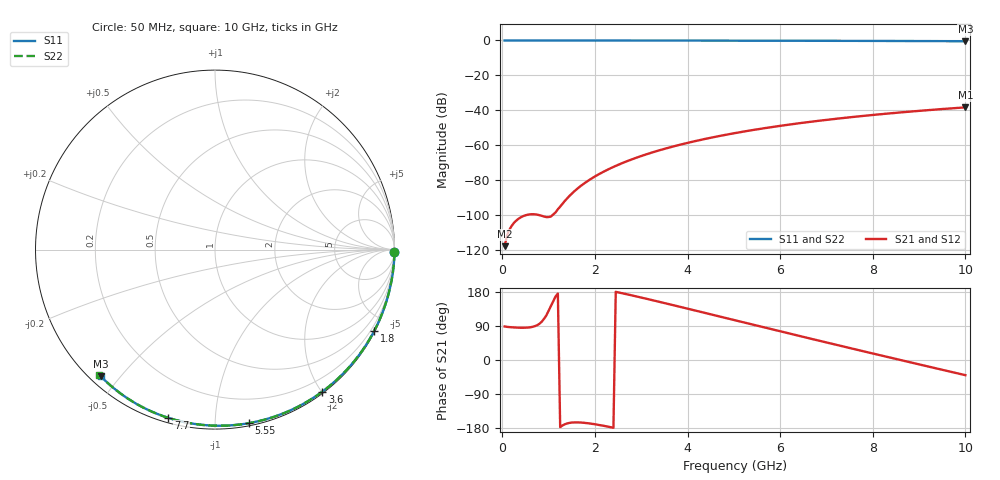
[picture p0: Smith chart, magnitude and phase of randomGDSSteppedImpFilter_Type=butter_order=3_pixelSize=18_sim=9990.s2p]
! freq	dB(S11)	phase(S11)	dB(S12)	phase(S12)
!  dB(S21)	phase(S21)	dB(S22)	phase(S22)
!S-par simulation data
#  GHz  S  DB  R 50
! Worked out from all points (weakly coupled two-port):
!   200 points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, 50 MHz to 10 GHz, reference 50 ohm
!   highest |S21| = -38.36 dB at 10 GHz (marker M1); lowest = -117.9 dB at 50 MHz (marker M2)
!   lowest |S11| = -0.4 dB at 10 GHz (marker M3), VSWR 39.19, Z = 1.53 - j22.3 ohm
!   |S11| at or under -10 dB: nowhere
!   |S22| runs from -0.4 to 0.0 dB; largest |S21 - S12| = 0
!   S11 on the Smith chart (normalised r, x): 50 MHz: open; 1.8 GHz: 0.04, -4.16; 3.6 GHz: 0.02, -2.01; 5.55 GHz: 0.02, -1.21; 7.7 GHz: 0.02, -0.76; 10 GHz: 0.03, -0.45
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0.05  -0.00 -0.8  -117.93 88.5  -117.93 88.5  -0.00 -0.8
0.9  -0.02 -13.6  -100.96 108.5  -100.96 108.5  -0.02 -13.7
1.75  -0.03 -26.3  -82.30 -165.5  -82.30 -165.5  -0.03 -26.4
1.8  -0.03 -27.0  -81.35 -166.1  -81.35 -166.1  -0.03 -27.2
1.85  -0.04 -27.8  -80.45 -166.9  -80.45 -166.9  -0.04 -27.9
1.9  -0.04 -28.5  -79.59 -167.7  -79.59 -167.7  -0.04 -28.7
2.05  -0.04 -30.7  -77.20 -170.6  -77.20 -170.6  -0.04 -30.9
2.25  -0.04 -33.6  -74.38 -175.1  -74.38 -175.1  -0.04 -33.8
2.45  -0.05 -36.5  -71.89 179.9  -71.89 179.9  -0.05 -36.7
2.65  -0.05 -39.4  -69.66 174.6  -69.66 174.6  -0.05 -39.6
3  -0.06 -44.4  -66.24 164.8  -66.24 164.8  -0.06 -44.6
3.4  -0.07 -50.1  -62.90 153.3  -62.90 153.3  -0.07 -50.3
3.6  -0.07 -52.9  -61.41 147.4  -61.41 147.4  -0.07 -53.1
4.3  -0.09 -62.5  -56.90 126.6  -56.90 126.6  -0.09 -62.8
5.05  -0.11 -72.5  -52.98 104.1  -52.98 104.1  -0.11 -72.8
5.55  -0.13 -79.0  -50.75 89.2  -50.75 89.2  -0.13 -79.4
6.1  -0.15 -86.0  -48.58 72.8  -48.58 72.8  -0.15 -86.4
6.7  -0.18 -93.4  -46.48 55.1  -46.48 55.1  -0.18 -93.9
7.7  -0.24 -105.5  -43.50 25.8  -43.50 25.8  -0.24 -106.0
8.35  -0.29 -113.1  -41.84 7.1  -41.84 7.1  -0.29 -113.7
9.15  -0.36 -122.3  -40.03 -15.8  -40.03 -15.8  -0.36 -123.0
10  -0.44 -132.0  -38.36 -40.0  -38.36 -40.0  -0.45 -132.7
